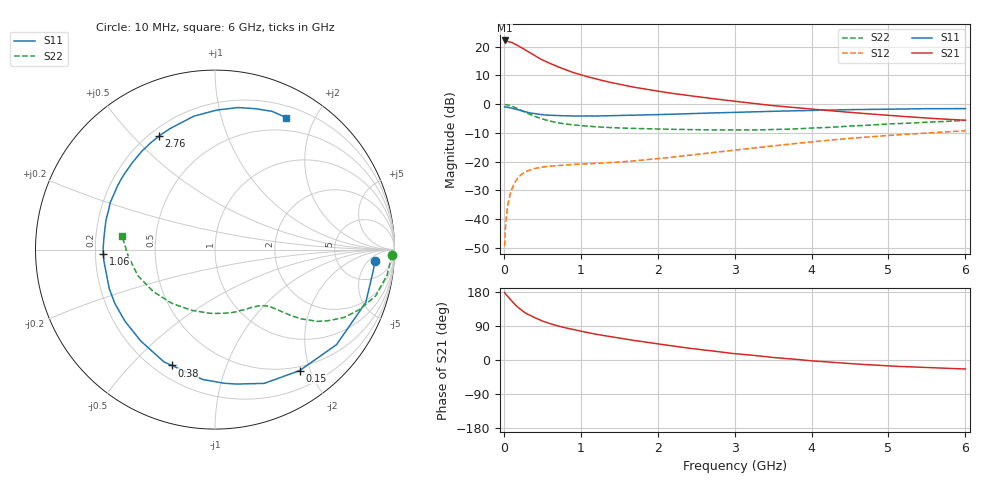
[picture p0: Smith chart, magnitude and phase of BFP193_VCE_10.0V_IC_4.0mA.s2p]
! Infineon Technologies  Discrete & RF Semiconductors
! BFP193
! VCE = 10.0V,  IC =  4.0 mA
! Common Emitter S-Parameters:  Jan 2016
# GHz  S  MA  R  50
!  f  S11  S21  S12  S22
! GHz  MAG  ANG  MAG  ANG  MAG  ANG  MAG  ANG
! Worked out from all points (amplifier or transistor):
!   210 points, 10 MHz to 6 GHz, reference 50 ohm
!   highest |S21| = 22.1 dB at 10 MHz (marker M1)
!   |S21| within 3 dB of that: start of sweep to 259.6 MHz
!   unconditionally stable (mu >= 1): 1.395 GHz to 3.652 GHz
!   at 185 MHz: K = 0.18, MSG = 23.0 dB, |S12| = -25.6 dB
!   at 1.52 GHz: K = 1.04, MAG = 12.1 dB, |S12| = -20.1 dB
!   at 6 GHz: K = 0.90, MSG = 1.8 dB, |S12| = -9.3 dB
!   S11 on the Smith chart (normalised r, x): 10 MHz: 13, -8; 150 MHz: 0.44, -1.84; 380 MHz: 0.27, -0.66; 1.06 GHz: 0.23, -0.02; 2.76 GHz: 0.24, +0.60; 6 GHz: 0.33, +1.62
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0.01  0.8936 -4.1  12.76 178.4  0.0034 88.8  0.9862 -1.7
0.02  0.8891 -7.8  12.5 174.6  0.0067 84.0  0.9809 -3.3
0.05  0.8901 -19.3  12.3 167.7  0.0171 79.0  0.9696 -8.3
0.09  0.8581 -34.2  11.9 158.6  0.0295 71.2  0.9378 -14.5
0.1  0.8595 -38.0  11.85 156.3  0.0326 70.2  0.9316 -16.1
0.15  0.8228 -55.0  10.96 145.0  0.0452 61.6  0.8709 -22.6
0.2  0.7942 -69.8  10.11 136.4  0.0554 55.3  0.8124 -27.7
0.26  0.7464 -86.1  9.028 126.9  0.0639 48.4  0.7386 -32.5
0.3  0.7267 -95.4  8.358 121.7  0.0684 45.0  0.6972 -35.0
0.38  0.6889 -110.5  7.207 113.9  0.0743 39.5  0.6284 -38.1
0.5  0.6562 -129.0  5.842 102.9  0.0807 34.1  0.5515 -41.3
0.6  0.6412 -141.3  5.085 96.0  0.0834 31.7  0.5059 -43.0
0.8  0.6281 -159.6  3.957 84.9  0.0875 29.1  0.4507 -45.5
1.02  0.622 -175.4  3.175 75.2  0.0908 29.0  0.421 -48.0
1.06  0.6222 -177.9  3.069 73.6  0.0913 29.1  0.4165 -48.6
1.4  0.6294 164.6  2.36 61.2  0.0965 31.3  0.3914 -54.2
2.02  0.6584 139.6  1.666 42.0  0.1135 37.0  0.3681 -66.8
2.76  0.705 116.2  1.225 22.5  0.1453 40.6  0.356 -86.7
3.1  0.7235 108.0  1.083 15.0  0.1641 40.4  0.3551 -97.5
4.1  0.7808 87.6  0.797 -3.5  0.2272 35.1  0.3874 -132.3
5.1  0.8193 72.7  0.624 -16.6  0.2907 24.8  0.4569 -164.1
6  0.8356 61.7  0.524 -23.8  0.3435 14.1  0.5222 171.9
